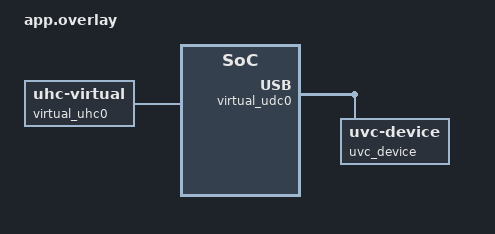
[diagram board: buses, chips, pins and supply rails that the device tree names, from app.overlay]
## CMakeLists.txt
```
# SPDX-License-Identifier: Apache-2.0

cmake_minimum_required(VERSION 3.20)
find_package(Zephyr REQUIRED HINTS $ENV{ZEPHYR_BASE})

project(app LANGUAGES C)

target_sources(app PRIVATE src/main.c src/usbd.c src/usbh.c)

zephyr_include_directories(${ZEPHYR_BASE}/subsys/usb/host)
```

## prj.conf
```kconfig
CONFIG_LOG=y
CONFIG_UDC_DRIVER_LOG_LEVEL_INF=y
CONFIG_UHC_DRIVER_LOG_LEVEL_INF=y
CONFIG_USBD_VIDEO_CLASS=y
CONFIG_USBD_VIDEO_LOG_LEVEL_INF=y
CONFIG_USBH_LOG_LEVEL_INF=y
CONFIG_USB_DEVICE_STACK_NEXT=y
CONFIG_USB_HOST_STACK=y
CONFIG_UVB_LOG_LEVEL_INF=y
CONFIG_VIDEO=y
CONFIG_VIDEO_LOG_LEVEL_INF=y
CONFIG_UDC_BUF_POOL_SIZE=2048
```

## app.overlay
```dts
/*
 * Copyright (c) 2025 Nordic Semiconductor ASA
 *
 * SPDX-License-Identifier: Apache-2.0
 */

/ {
	virtual_uhc0: uhc-virtual {
		compatible = "zephyr,uhc-virtual";
		maximum-speed = "full-speed";


		virtual_udc0: udc-virtual {
			compatible = "zephyr,udc-virtual";
			num-bidir-endpoints = <4>;
			maximum-speed = "full-speed";

			uvc_device: uvc-device {
				compatible = "zephyr,uvc-device";
			};
		};
	};
};
```

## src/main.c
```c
/*
 * Copyright (c) 2025 Nordic Semiconductor ASA
 *
 * SPDX-License-Identifier: Apache-2.0
 */

#include <zephyr/device.h>
#include <zephyr/logging/log.h>
#include <zephyr/usb/usbd.h>
#include <zephyr/usb/usbh.h>
#include <zephyr/usb/class/usbd_uvc.h>

#include "usbh_device.h"
#include "usbh_ch9.h"

LOG_MODULE_REGISTER(app_main, LOG_LEVEL_INF);

#include "app.h"

#define APP_USBH_CLASS_DESC_MAX_SIZE 512

int usbh_class_init(struct usb_device *udev)
{
	const size_t len = APP_USBH_CLASS_DESC_MAX_SIZE;
	struct net_buf *buf;
	int ret;

	buf = usbh_xfer_buf_alloc(udev, len);
	if (buf == NULL) {
    		LOG_ERR("Failed to allocate a host transfer buffer");
		return -ENOMEM;
	}

	ret = usbh_req_desc(udev, USB_DESC_DEVICE, 0, 0, len, buf);
	if (ret != 0) {
    		LOG_ERR("Failed to request descriptor");
		return ret;
	}

	LOG_HEXDUMP_INF(buf->data, buf->len, "buf");

	return 0;
}

const struct device *const uvc_dev = DEVICE_DT_GET(DT_NODELABEL(uvc_device));
const struct device *const video_dev = DEVICE_DT_GET(DT_CHOSEN(zephyr_camera));

int main(void)
{
	struct usbd_context *app_usbd;
	struct usbh_contex *app_usbh;
	int ret;

	uvc_set_video_dev(uvc_dev, video_dev);

	/* Enable the virtual USB device and virtual USB host so they can
	 * communicate together
	 */

	app_usbd = app_usbd_init_device();
	if (app_usbd == NULL) {
		LOG_ERR("Failed to initialize USB Device contexts");
		return 0;
	}

	app_usbh = app_usbh_init_controller();
	if (app_usbh == NULL) {
		LOG_ERR("Failed to initialize USB Host controller");
		return 0;
	}

	ret = usbh_enable(app_usbh);
	if (ret != 0) {
		LOG_ERR("Failed to enable USB Host");
		return 0;
	}

	ret = usbd_enable(app_usbd);
	if (ret != 0) {
		LOG_ERR("Failed to enable USB Device");
		return 0;
	}

	return 0;
}
```

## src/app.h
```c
/*
 * Copyright (c) 2025 Nordic Semiconductor ASA.
 *
 * SPDX-License-Identifier: Apache-2.0
 */

#ifndef NORDIC_USBH_TESTS_APP_H
#define NORDIC_USBH_TESTS_APP_H

#include <stdint.h>
#include <zephyr/usb/usbd.h>
#include <zephyr/usb/usbh.h>

struct usbd_context *app_usbd_init_device(void);
struct usbh_contex *app_usbh_init_controller(void);

#endif /* NORDIC_USBH_TESTS_APP_H */
```

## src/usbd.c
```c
/*
 * Copyright (c) 2023-2025 Nordic Semiconductor ASA
 *
 * SPDX-License-Identifier: Apache-2.0
 */

#include <stdint.h>

#include <zephyr/device.h>
#include <zephyr/usb/usbd.h>

#include <zephyr/logging/log.h>
LOG_MODULE_REGISTER(usbd_app_config);

#define ZEPHYR_PROJECT_USB_VID	0x2fe3
#define APP_USBD_PID 0x9999

/* doc device instantiation start */
USBD_DEVICE_DEFINE(app_usbd,
		   DEVICE_DT_GET(DT_NODELABEL(virtual_udc0)),
		   ZEPHYR_PROJECT_USB_VID, APP_USBD_PID);
/* doc device instantiation end */

/* doc string instantiation start */
USBD_DESC_LANG_DEFINE(app_lang);
USBD_DESC_MANUFACTURER_DEFINE(app_mfr, "Nordic");
USBD_DESC_PRODUCT_DEFINE(app_product, "Virtual USB device");

/* doc string instantiation end */

USBD_DESC_CONFIG_DEFINE(fs_cfg_desc, "FS Configuration");

/* doc configuration instantiation start */
static const uint8_t attributes = 0;
USBD_CONFIGURATION_DEFINE(app_fs_config, attributes, 200, &fs_cfg_desc);
/* doc configuration instantiation end */

struct usbd_context *app_usbd_init_device(void)
{
	int err;

	/* doc add string descriptor start */
	err = usbd_add_descriptor(&app_usbd, &app_lang);
	if (err) {
		LOG_ERR("Failed to initialize language descriptor (%d)", err);
		return NULL;
	}

	err = usbd_add_descriptor(&app_usbd, &app_mfr);
	if (err) {
		LOG_ERR("Failed to initialize manufacturer descriptor (%d)", err);
		return NULL;
	}

	err = usbd_add_descriptor(&app_usbd, &app_product);
	if (err) {
		LOG_ERR("Failed to initialize product descriptor (%d)", err);
		return NULL;
	}
	/* doc add string descriptor end */

	/* doc configuration register start */
	err = usbd_add_configuration(&app_usbd, USBD_SPEED_FS,
				     &app_fs_config);
	if (err) {
		LOG_ERR("Failed to add Full-Speed configuration");
		return NULL;
	}
	/* doc configuration register end */

	/* doc functions register start */
	err = usbd_register_all_classes(&app_usbd, USBD_SPEED_FS, 1, NULL);
	if (err) {
		LOG_ERR("Failed to add register classes");
		return NULL;
	}
	/* doc functions register end */

	/* Always use class code information from Interface Descriptors */
	if (IS_ENABLED(CONFIG_USBD_CDC_ACM_CLASS) ||
	    IS_ENABLED(CONFIG_USBD_CDC_ECM_CLASS) ||
	    IS_ENABLED(CONFIG_USBD_CDC_NCM_CLASS) ||
	    IS_ENABLED(CONFIG_USBD_MIDI2_CLASS) ||
	    IS_ENABLED(CONFIG_USBD_AUDIO2_CLASS) ||
	    IS_ENABLED(CONFIG_USBD_VIDEO_CLASS)) {
		/*
		 * Class with multiple interfaces have an Interface
		 * Association Descriptor available, use an appropriate triple
		 * to indicate it.
		 */
		usbd_device_set_code_triple(&app_usbd, USBD_SPEED_FS,
					    USB_BCC_MISCELLANEOUS, 0x02, 0x01);
	} else {
		usbd_device_set_code_triple(&app_usbd, USBD_SPEED_FS, 0, 0, 0);
	}

	usbd_self_powered(&app_usbd, attributes & USB_SCD_SELF_POWERED);

	/* doc device init start */
	err = usbd_init(&app_usbd);
	if (err) {
		LOG_ERR("Failed to initialize device support");
		return NULL;
	}
	/* doc device init end */

	return &app_usbd;
}
```

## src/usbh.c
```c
/*
 * Copyright (c) 2025 Nordic Semiconductor ASA
 *
 * SPDX-License-Identifier: Apache-2.0
 */

#include <zephyr/device.h>
#include <zephyr/usb/usbh.h>

#include <zephyr/logging/log.h>
LOG_MODULE_REGISTER(usbh_app_config);

USBH_CONTROLLER_DEFINE(app_usbh,
		       DEVICE_DT_GET(DT_NODELABEL(virtual_uhc0)));

struct usbh_contex *app_usbh_init_controller(void)
{
	int err;

	err = usbh_init(&app_usbh);
	if (err) {
		LOG_ERR("Failed to initialize host support");
		return NULL;
	}

	return &app_usbh;
}
```
